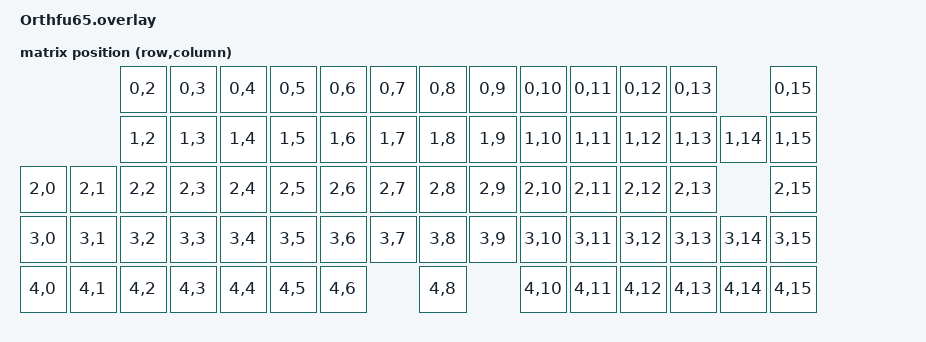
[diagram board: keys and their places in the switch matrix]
#include <dt-bindings/zmk/matrix_transform.h>

/ {
        chosen {
            zmk,kscan = &defaullt_kscan;
            zmk,matrix_transform = &default_transform;
    };

default_kscan: kscan {
        compatible = "zmk,kscan-gpio-matrix";
        label = "default_kscan";
        diode-direction = "col2row";

        row-gpios = <&nice_nano 20 (GPIO_ACTIVE_HIGH | GPIO_PULL_DOWN)>
                    <&nice_nano 19 (GPIO_ACTIVE_HIGH | GPIO_PULL_DOWN)>
                    <&nice_nano 18 (GPIO_ACTIVE_HIGH | GPIO_PULL_DOWN)>
                    <&nice_nano 13 (GPIO_ACTIVE_HIGH | GPIO_PULL_DOWN)>
                    <&nice_nano 14 (GPIO_ACTIVE_HIGH | GPIO_PULL_DOWN)>

        col-gpios = <&nice_nano 15 GPIO_ACTIVE_HIGH>
                    <&nice_nano 16 GPIO_ACTIVE_HIGH>
                    <&nice_nano 17 GPIO_ACTIVE_HIGH>  
                    <&nice_nano 27 GPIO_ACTIVE_HIGH>
                    <&nice_nano 26 GPIO_ACTIVE_HIGH>
                    <&nice_nano 25 GPIO_ACTIVE_HIGH>
                    <&nice_nano 12 GPIO_ACTIVE_HIGH>
                    <&nice_nano 11 GPIO_ACTIVE_HIGH>
                    <&nice_nano 10 GPIO_ACTIVE_HIGH>
                    <&nice_nano 9 GPIO_ACTIVE_HIGH>
                    <&nice_nano 8 GPIO_ACTIVE_HIGH>
                    <&nice_nano 7 GPIO_ACTIVE_HIGH>
                    <&nice_nano 6 GPIO_ACTIVE_HIGH>
                    <&nice_nano 5 GPIO_ACTIVE_HIGH>
                    <&nice_nano 2 GPIO_ACTIVE_HIGH>
                    <&nice_nano 1 GPIO_ACTIVE_HIGH>
    };

    default_transform: matrix_transform { 
        compatoble = "ZMK,matrix-transform";
        rows = <5>;
        columns = <16>;
        
        map = <
        //                   Key 1 | Key 2 | Key 3 | Key 4 | Key 5 | Key 6 | Key 7  | Key 8  | Key 9 | Key 10 | Key 11 | Key 12          | Key 13 
                            RC(0,2) RC(0,3) RC(0,4) RC(0,5) RC(0,6) RC(0,7) RC(0,8) RC(0,9) RC(0,10) RC(0,11) RC(0,12) RC(0,13)          RC(0,15)
        //                  Key14 | Key15 | Key16 | Key17 | Key18 | Key 19 | Key20  | Key21  | Key22  | Key23  | Key24  | Key25 | Key 26 | Key 27 
                            RC(1,2) RC(1,3) RC(1,4) RC(1,5) RC(1,6) RC(1,7) RC(1,8) RC(1,9) RC(1,10) RC(1,11) RC(1,12) RC(1,13) RC(1,14) RC(1,15)
        //   Key28 | Key29 | Key30 | Key31 | Key32 | Key33 | Key34 | Key35 | Key36 | Key37  | Key38  | Key39  | Key40   | Key41          | Key42
            RC(2,0) RC(2,1) RC(2,2) RC(2,3) RC(2,4) RC(2,5) RC(2,6) RC(2,7) RC(2,8) RC(2,9) RC(2,10) RC(2,11) RC(2,12) RC(2,13)         | RC(2,15)
        //   Key43 | Key44  |Key45 | Key46 | Key47 | Key48 | Key49 | Key50 | Key51 | Key52 | Key53   | Key54 |  Key55 | Key56  | Key57  | Key58
            RC(3,0) RC(3,1) RC(3,2) RC(3,3) RC(3,4) RC(3,5) RC(3,6) RC(3,7) RC(3,8) RC(3,9) RC(3,10) RC(3,11) RC(3,12) RC(3,13) RC(3,14) RC(3,15)
        //   Key59 | Key60  |Key61 | Key62 | Key63 | Key64 | Key65 |         Key66 |         Key67   | Key68 |  Key69 | Key70  | Key71  | Key72
            RC(4,0) RC(4,1) RC(4,2) RC(4,3) RC(4,4) RC(4,5) RC(4,6)         RC(4,8)         RC(4,10) RC(4,11) RC(4,12) RC(4,13) RC(4,14) RC(4,15)
        >;
    };
};
